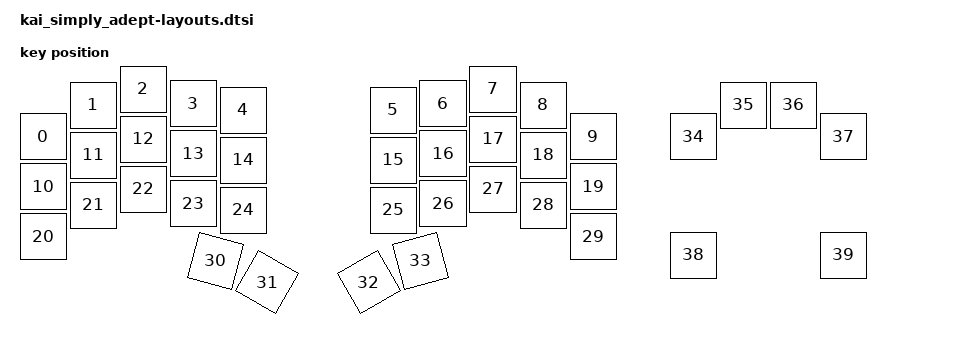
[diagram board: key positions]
#include <physical_layouts.dtsi>

/ {
    physical_layout0: physical_layout_0 {
        compatible = "zmk,physical-layout";
        display-name = "Default Layout";
        transform = <&default_transform>;
        kscan = <&kscan0>;
        
        keys  //                     w   h    x    y     rot    rx    ry
            = <&key_physical_attrs 100 100    0   95       0     0     0>
            , <&key_physical_attrs 100 100  100   32       0     0     0>
            , <&key_physical_attrs 100 100  200    0       0     0     0>
            , <&key_physical_attrs 100 100  300   29       0     0     0>
            , <&key_physical_attrs 100 100  400   42       0     0     0>
            , <&key_physical_attrs 100 100  700   42       0     0     0>
            , <&key_physical_attrs 100 100  800   29       0     0     0>
            , <&key_physical_attrs 100 100  900    0       0     0     0>
            , <&key_physical_attrs 100 100 1000   32       0     0     0>
            , <&key_physical_attrs 100 100 1100   95       0     0     0>
            , <&key_physical_attrs 100 100    0  195       0     0     0>
            , <&key_physical_attrs 100 100  100  132       0     0     0>
            , <&key_physical_attrs 100 100  200  100       0     0     0>
            , <&key_physical_attrs 100 100  300  129       0     0     0>
            , <&key_physical_attrs 100 100  400  142       0     0     0>
            , <&key_physical_attrs 100 100  700  142       0     0     0>
            , <&key_physical_attrs 100 100  800  129       0     0     0>
            , <&key_physical_attrs 100 100  900  100       0     0     0>
            , <&key_physical_attrs 100 100 1000  132       0     0     0>
            , <&key_physical_attrs 100 100 1100  195       0     0     0>
            , <&key_physical_attrs 100 100    0  295       0     0     0>
            , <&key_physical_attrs 100 100  100  232       0     0     0>
            , <&key_physical_attrs 100 100  200  200       0     0     0>
            , <&key_physical_attrs 100 100  300  229       0     0     0>
            , <&key_physical_attrs 100 100  400  242       0     0     0>
            , <&key_physical_attrs 100 100  700  242       0     0     0>
            , <&key_physical_attrs 100 100  800  229       0     0     0>
            , <&key_physical_attrs 100 100  900  200       0     0     0>
            , <&key_physical_attrs 100 100 1000  232       0     0     0>
            , <&key_physical_attrs 100 100 1100  295       0     0     0>
            , <&key_physical_attrs 100 100  330  355    1500   430   455>
            , <&key_physical_attrs 100 100  430  355    3000   430   455>
            , <&key_physical_attrs 100 100  670  355 (-3000)   770   455>
            , <&key_physical_attrs 100 100  770  355 (-1500)   770   455>
            , <&key_physical_attrs 100 100 1300   95       0     0     0>
            , <&key_physical_attrs 100 100 1400   32       0     0     0>
            , <&key_physical_attrs 100 100 1500   32       0     0     0>
            , <&key_physical_attrs 100 100 1600   95       0     0     0>
            , <&key_physical_attrs 100 100 1300  332       0     0     0>
            , <&key_physical_attrs 100 100 1600  332       0     0     0>
            ;
    };
};
